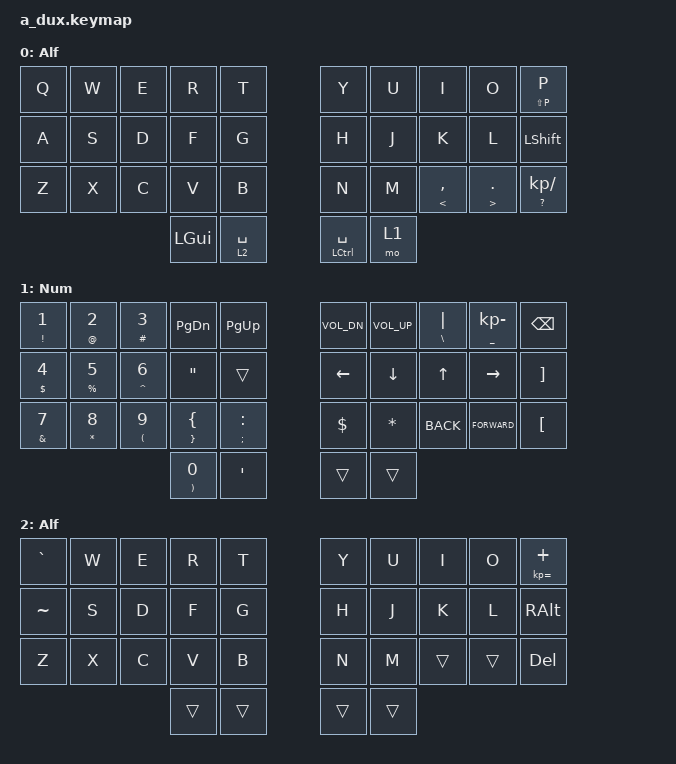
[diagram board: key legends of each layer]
/*
 * Copyright (c) 2021 The ZMK Contributors
 *
 * SPDX-License-Identifier: MIT
 */

#include <behaviors.dtsi>
#include <dt-bindings/zmk/keys.h>

/ {
    combos {
        compatible = "zmk,combos";

        Enter {
            bindings = <&kp ENTER>;
            key-positions = <13 12>;
            timeout-ms = <20>;
        };

        tab {
            bindings = <&kp TAB>;
            key-positions = <16 17>;
            timeout-ms = <20>;
        };

        escape {
            bindings = <&kp ESC>;
            key-positions = <3 2>;
        };

        control {
            bindings = <&kp LEFT_CONTROL>;
            key-positions = <31 32>;
        };
    };

    keymap {
        compatible = "zmk,keymap";

        base_layer {
            display-name = "Alf";
            bindings = <
&kp Q  &kp W  &kp E  &kp R  &kp T                                         &kp Y  &kp U  &kp I                &kp O                    &mt LS(P) P
&kp A  &kp S  &kp D  &kp F  &kp G                                         &kp H  &kp J  &kp K                &kp L                    &kp LEFT_SHIFT
&kp Z  &kp X  &kp C  &kp V  &kp B                                         &kp N  &kp M  &mt LESS_THAN COMMA  &mt GREATER_THAN PERIOD  &mt QUESTION KP_DIVIDE
                            &kp LEFT_GUI  &lt 2 SPACE    &mt LCTRL SPACE  &mo 1
            >;
        };

        layer_1 {
            display-name = "Num";
            bindings = <
&mt EXCLAMATION NUMBER_1  &mt AT_SIGN NUMBER_2  &mt POUND NUMBER_3       &kp PAGE_DOWN               &kp PAGE_UP                                  &kp C_VOL_DN  &kp C_VOL_UP  &mt BSLH PIPE  &mt UNDERSCORE KP_MINUS  &kp BSPC
&mt DOLLAR NUMBER_4       &mt PERCENT N5        &mt CARET NUMBER_6       &kp DOUBLE_QUOTES           &trans                                       &kp LEFT      &kp DOWN      &kp UP         &kp RIGHT                &kp RIGHT_BRACKET
&mt AMPERSAND N7          &mt ASTRK N8          &mt LEFT_PARENTHESIS N9  &mt RIGHT_BRACE LEFT_BRACE  &mt SEMICOLON COLON                          &kp DOLLAR    &kp ASTRK     &kp K_BACK     &kp K_FORWARD            &kp LEFT_BRACKET
                                                                                                     &mt RIGHT_PARENTHESIS N0  &kp SQT    &trans  &trans
            >;
        };

        layer_2 {
            display-name = "Alf";
            bindings = <
&kp GRAVE  &kp W  &kp E  &kp R  &kp T                     &kp Y   &kp U  &kp I   &kp O   &mt KP_EQUAL PLUS
&kp TILDE  &kp S  &kp D  &kp F  &kp G                     &kp H   &kp J  &kp K   &kp L   &kp RIGHT_ALT
&kp Z      &kp X  &kp C  &kp V  &kp B                     &kp N   &kp M  &trans  &trans  &kp DELETE
                                &trans  &trans    &trans  &trans
            >;
        };
    };
};
